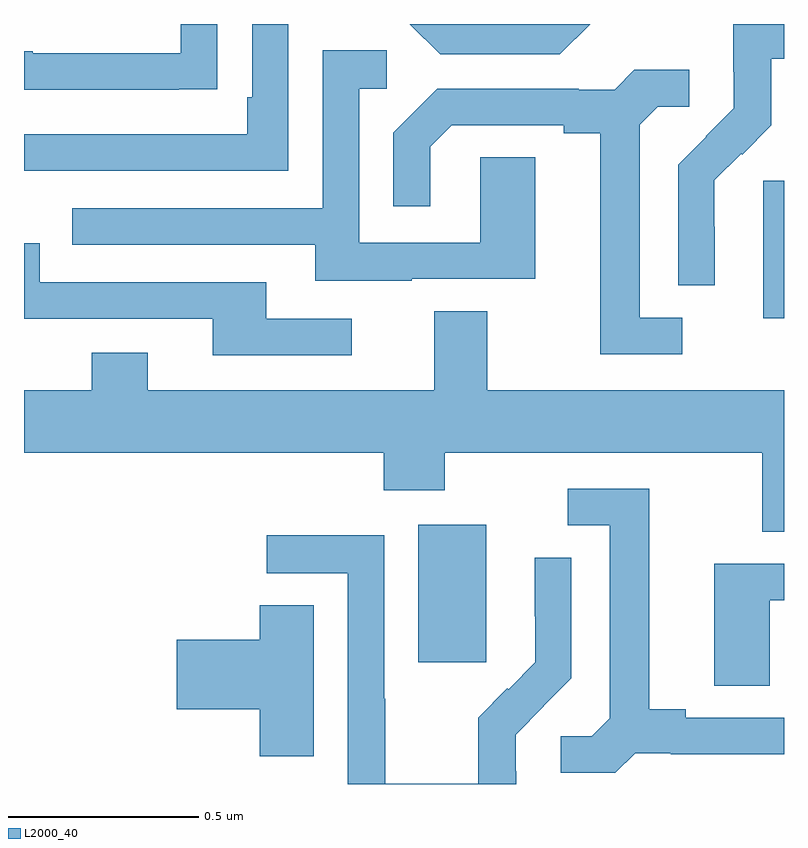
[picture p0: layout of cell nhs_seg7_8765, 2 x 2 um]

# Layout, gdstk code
import gdstk
lib = gdstk.Library(unit=1e-6, precision=1e-09)
def R(c, l, rs):  # rectangles x0, y0, x1, y1
    for r in rs: c.add(gdstk.rectangle(r[:2], r[2:], *l))
def P(c, l, *ps):  # polygons
    for p in ps: c.add(gdstk.Polygon(p, *l))
L2000_40 = (2000, 40)

nhs_seg7_8765 = lib.new_cell('nhs_seg7_8765')
R(nhs_seg7_8765, L2000_40, [(229.037,1077.321,229.216,1077.682), (229.946,1078.226,230,1078.587)])
P(nhs_seg7_8765, L2000_40, [(228.407,1078.828),(228.509,1078.828),(228.509,1079),(228.413,1079),(228.413,1078.923),(228.023,1078.923),(228.023,1078.928),(228,1078.928),(228,1078.827),(228.407,1078.827)],
  [(229.818,1078.466),(229.817,1078.466),(229.817,1078.589),(229.887,1078.659),(229.89,1078.656),(229.967,1078.733),(229.967,1078.908),(230,1078.908),(230,1079),(229.866,1079),(229.866,1078.875),(229.868,1078.875),(229.868,1078.778),(229.794,1078.704),(229.795,1078.703),(229.722,1078.63),(229.722,1078.312),(229.818,1078.312)],
  [(228.696,1079),(228.6,1079),(228.6,1078.807),(228.587,1078.807),(228.587,1078.71),(228,1078.71),(228,1078.614),(228.696,1078.614)],
  [(229.49,1079),(229.015,1079),(229.095,1078.92),(229.41,1078.92)],
  [(229.021,1078.329),(229.345,1078.329),(229.345,1078.649),(229.2,1078.649),(229.2,1078.425),(228.882,1078.425),(228.882,1078.83),(228.955,1078.83),(228.955,1078.931),(228.786,1078.931),(228.786,1078.515),(228.127,1078.515),(228.127,1078.419),(228.767,1078.419),(228.767,1078.325),(229.021,1078.325)],
  [(229.732,1078.227),(229.621,1078.227),(229.621,1078.735),(229.668,1078.782),(229.75,1078.782),(229.75,1078.879),(229.606,1078.879),(229.554,1078.827),(229.46,1078.827),(229.46,1078.83),(229.088,1078.83),(228.972,1078.714),(228.972,1078.521),(229.069,1078.521),(229.069,1078.677),(229.126,1078.734),(229.421,1078.734),(229.421,1078.712),(229.517,1078.712),(229.517,1078.131),(229.732,1078.131)],
  [(228.862,1078.224),(228.637,1078.224),(228.637,1078.32),(228.042,1078.32),(228.042,1078.423),(228,1078.423),(228,1078.224),(228.497,1078.224),(228.497,1078.128),(228.862,1078.128)],
  [(230,1078.036),(229.219,1078.036),(229.219,1078.244),(229.079,1078.244),(229.079,1078.036),(228.325,1078.036),(228.325,1078.135),(228.178,1078.135),(228.178,1078.036),(228,1078.036),(228,1077.872),(228.947,1077.872),(228.947,1077.773),(229.107,1077.773),(229.107,1077.872),(229.943,1077.872),(229.943,1077.664),(230,1077.664)],
  [(229.608,1077.081),(229.702,1077.081),(229.702,1077.078),(230,1077.078),(230,1077.174),(229.741,1077.174),(229.741,1077.197),(229.645,1077.197),(229.645,1077.777),(229.431,1077.777),(229.431,1077.681),(229.541,1077.681),(229.541,1077.173),(229.494,1077.126),(229.413,1077.126),(229.413,1077.029),(229.556,1077.029)],
  [(229.296,1077.033),(229.294,1077.033),(229.294,1077.13),(229.368,1077.204),(229.367,1077.205),(229.44,1077.278),(229.44,1077.596),(229.344,1077.596),(229.344,1077.442),(229.346,1077.442),(229.346,1077.32),(229.275,1077.249),(229.272,1077.252),(229.195,1077.175),(229.195,1077.001),(228.951,1077.001),(228.951,1077.224),(228.948,1077.224),(228.948,1077.654),(228.639,1077.654),(228.639,1077.555),(228.852,1077.555),(228.852,1077),(229.296,1077)],
  [(229.962,1077.483),(230,1077.483),(230,1077.579),(229.817,1077.579),(229.817,1077.259),(229.962,1077.259)],
  [(228.763,1077.47),(228.62,1077.47),(228.62,1077.38),(228.402,1077.38),(228.402,1077.197),(228.62,1077.197),(228.62,1077.073),(228.763,1077.073)])

lib.write_gds('nhs_seg7_8765.gds')
